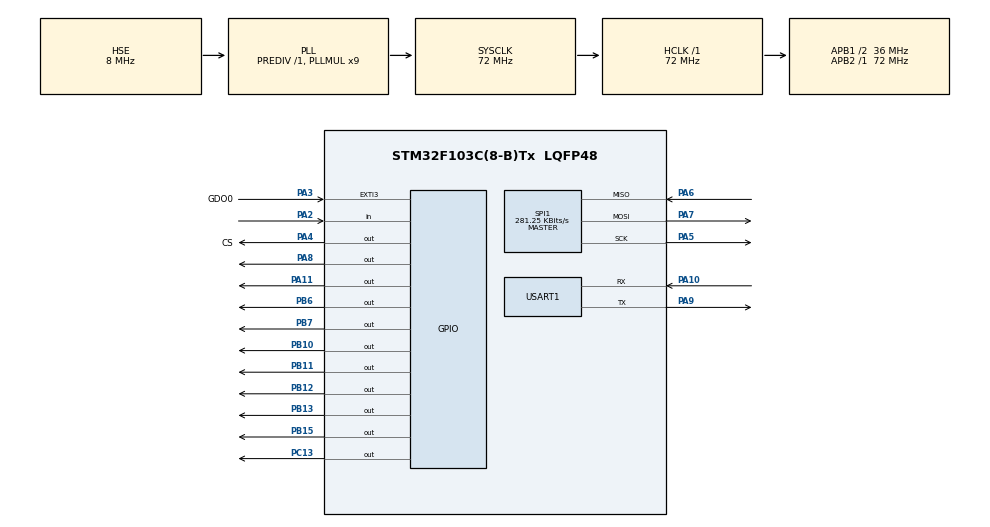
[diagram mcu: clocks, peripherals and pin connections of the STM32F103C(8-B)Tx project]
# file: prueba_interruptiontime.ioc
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Mcu.Family=STM32F1
Mcu.Name=STM32F103C(8-B)Tx
Mcu.Package=LQFP48
NVIC.EXTI3_IRQn=true\:0\:0\:false\:false\:true\:true\:true
NVIC.PriorityGroup=NVIC_PRIORITYGROUP_4
NVIC.TIM4_IRQn=true\:2\:0\:true\:false\:true\:true\:true
PA10.Mode=Asynchronous
PA10.Signal=USART1_RX
PA11.Signal=GPIO_Output
PA13.Mode=Serial_Wire
PA13.Signal=SYS_JTMS-SWDIO
PA14.Mode=Serial_Wire
PA14.Signal=SYS_JTCK-SWCLK
PA2.Signal=GPIO_Input
PA3.GPIO_Label=GDO0
PA3.GPIO_ModeDefaultEXTI=GPIO_MODE_IT_FALLING
PA3.Signal=GPXTI3
PA4.GPIO_Label=CS
PA4.Signal=GPIO_Output
PA5.Mode=Full_Duplex_Master
PA5.Signal=SPI1_SCK
PA6.Mode=Full_Duplex_Master
PA6.Signal=SPI1_MISO
PA7.Mode=Full_Duplex_Master
PA7.Signal=SPI1_MOSI
PA8.GPIO_PuPd=GPIO_PULLUP
PA8.PinState=GPIO_PIN_SET
PA8.Signal=GPIO_Output
PA9.Mode=Asynchronous
PA9.Signal=USART1_TX
PB10.Signal=GPIO_Output
PB11.Signal=GPIO_Output
PB12.Signal=GPIO_Output
PB13.Signal=GPIO_Output
PB15.Signal=GPIO_Output
PB6.Signal=GPIO_Output
PB7.PinState=GPIO_PIN_SET
PB7.Signal=GPIO_Output
PC13-TAMPER-RTC.Signal=GPIO_Output
PD0-OSC_IN.Mode=HSE-External-Oscillator
PD0-OSC_IN.Signal=RCC_OSC_IN
PD1-OSC_OUT.Mode=HSE-External-Oscillator
PD1-OSC_OUT.Signal=RCC_OSC_OUT
ProjectManager.HeapSize=0x200
ProjectManager.StackSize=0x400
ProjectManager.TargetToolchain=STM32CubeIDE
RCC.AHBFreq_Value=72000000
RCC.APB1CLKDivider=RCC_HCLK_DIV2
RCC.APB1Freq_Value=36000000
RCC.APB1TimFreq_Value=72000000
RCC.APB2Freq_Value=72000000
RCC.APB2TimFreq_Value=72000000
RCC.HCLKFreq_Value=72000000
RCC.PLLMUL=RCC_PLL_MUL9
RCC.PLLSourceVirtual=RCC_PLLSOURCE_HSE
RCC.SYSCLKFreq_VALUE=72000000
RCC.SYSCLKSource=RCC_SYSCLKSOURCE_PLLCLK
RCC.USBFreq_Value=48000000
RCC.USBPrescaler=RCC_USBCLKSOURCE_PLL_DIV1_5
SPI1.BaudRatePrescaler=SPI_BAUDRATEPRESCALER_256
SPI1.CRCCalculation=SPI_CRCCALCULATION_DISABLE
SPI1.CalculateBaudRate=281.25 KBits/s
SPI1.Direction=SPI_DIRECTION_2LINES
SPI1.Mode=SPI_MODE_MASTER
SPI1.VirtualType=VM_MASTER
TIM4.AutoReloadPreload=TIM_AUTORELOAD_PRELOAD_DISABLE
TIM4.Period=1
TIM4.Prescaler=1439
USART1.Parity=PARITY_EVEN
USART1.VirtualMode=VM_ASYNC
VP_TIM4_VS_ClockSourceINT.Mode=Internal
board=custom

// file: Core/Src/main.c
/* USER CODE BEGIN Header */
/**
  ******************************************************************************
  * @file           : main.c
  * @brief          : Cuerpo de programa para detección de inhibiciones
  ******************************************************************************
  * @attention
  *
  * <h2><center>&copy; Copyright (c) 2020 STMicroelectronics.
  * All rights reserved.</center></h2>
  *
  * This software component is licensed by ST under BSD 3-Clause license,
  * the "License"; You may not use this file except in compliance with the
  * License. You may obtain a copy of the License at:
  *                        opensource.org/licenses/BSD-3-Clause
  *
  ******************************************************************************
  */
/* USER CODE END Header */
#include "main.h"

/* USER CODE BEGIN Includes */
#include "rf_driver.h"
#include <stdbool.h>

/* USER CODE END Includes */

/* USER CODE BEGIN PTD */

#define ID_nodo  'B'

/* USER CODE END PTD */

SPI_HandleTypeDef hspi1;

TIM_HandleTypeDef htim4;

UART_HandleTypeDef huart1;

/* USER CODE BEGIN PV */

uint16_t promedio = 0, a_promediar = 0, contador20ms = 0, contador150ms = 0, contador20ms_rssi = 0;
uint16_t sync_mx = 1; 			//variable de control para sincronización máxima de 320ms
uint8_t state = 0, i_rssi=0;
uint16_t suma_RSSI = 90;
uint8_t RSSI_val[10] = {90,90,90,90,90,90,90,90,90,90};

//Different state of ATM machine
typedef enum
{
    RxJammer_State,
    Info_central_Tx_State,
	Guarda_RSSI_Rx_State,
    Espera_Rx_State,
    Envia_Tx_State,
    Reset_Rx_State
} eSystemState;

uint8_t bInhibicion;

/* USER CODE END PV */

void SystemClock_Config(void);
static void MX_GPIO_Init(void);
static void MX_SPI1_Init(void);
static void MX_TIM4_Init(void);
static void MX_USART1_UART_Init(void);

int main(void)
{

  /* MCU Configuration--------------------------------------------------------*/

  /* Reset of all peripherals, Initializes the Flash interface and the Systick. */
  HAL_Init();

  /* Configure the system clock */
  SystemClock_Config();

  /* Initialize all configured peripherals */
  MX_GPIO_Init();
  MX_SPI1_Init();
  MX_TIM4_Init();
  MX_USART1_UART_Init();
  /* USER CODE BEGIN 2 */

  	eSystemState NextState;
  	uint8_t gRSSI_value;

  	char ch[3];
  	char in[3]={0, 0, 0};
  	uint8_t gInhibicion;
  	uint16_t err;
  	uint8_t cError = 0;

  	bInhibicion = 0;
  	NextState = RxJammer_State;

	HAL_GPIO_WritePin(GPIOA, GPIO_PIN_8, 0); // DE - Comunicacion RS485 - Se coloca en bajo para estar en modo recepcion
	HAL_GPIO_WritePin(GPIOA, GPIO_PIN_11, 0); // RE - Comunicacion RS485 - Se coloca en bajo para escuchar todo el tiempo

	uint16_t marcstate=0;

	//Init rf driver
	rf_begin(&hspi1, AKS_115_kb, MHz434, CS_GPIO_Port, CS_Pin, GDO0_Pin);
	rf_write_strobe(SRX);

	while(marcstate != RX){
		marcstate = (rf_read_register(MARCSTATE)); //read out state of cc1100 to be sure in RX
	}

	HAL_TIM_Base_Start_IT(&htim4);

	//  test_cargar_cfg();

  /* USER CODE END 2 */

  /* Infinite loop */
  /* USER CODE BEGIN WHILE */
	while (1)
	{
		/*if(HAL_GPIO_ReadPin(GPIOB, GPIO_PIN_6) == 1){
			HAL_TIM_Base_Start_IT(&htim4);
		  }*/

		// Maquina de estados para comunicacion
		switch(NextState){
		  case RxJammer_State:
			  // Codigo que corre el estado
			  in[0] = in[1] = in[2] = 0;
			  HAL_UART_Receive(&huart1, (uint8_t *)in, 1, 1000);
			  if((in[0] != 0) && (in[0] != 'F'))
				  NextState = Espera_Rx_State;
			  else if(bInhibicion != 0)
				  NextState = Info_central_Tx_State;
			  else
				  NextState = RxJammer_State;
			  break;
		  case Info_central_Tx_State:
			  ch[0] = 'I'; //Palabra a transmitir cuando detecta inhibicion
			  HAL_TIM_Base_Stop_IT(&htim4);

			  HAL_GPIO_WritePin(GPIOA, GPIO_PIN_8, 1);
			  HAL_UART_Transmit(&huart1, (uint8_t *)&ch, 1, 10); //Definir palabra a enviar
			  HAL_UART_Receive(&huart1, (uint8_t *)in, 1, 1);
			  HAL_GPIO_WritePin(GPIOA, GPIO_PIN_8, 0);
			  NextState = Espera_Rx_State;

			  break;
		  case Guarda_RSSI_Rx_State:

			  gRSSI_value = RSSI_level();
			  gInhibicion = bInhibicion;
			  NextState = Espera_Rx_State;

			  break;
		  case Espera_Rx_State:
			  HAL_TIM_Base_Stop_IT(&htim4);
			  HAL_GPIO_WritePin(GPIOA, GPIO_PIN_8, 0);
			  err = HAL_UART_Receive(&huart1, (uint8_t *)in, 1, 40);

			  if(in[0] == 'G')
				  NextState = Guarda_RSSI_Rx_State;
			  else if(in[0] == (ID_nodo + 32))
				  NextState = Envia_Tx_State;
			  else if(in[0] == 'F') //En el char 1 se pone F de fin
				  NextState = Reset_Rx_State;
			  else
				  NextState = Espera_Rx_State;

			  if(err ==  3) {
				  cError++;

				  if (cError >= 10){
					  NextState = Reset_Rx_State;
					  cError = 0;
				  }
			  }

			  break;
		  case Envia_Tx_State:
			  ch[0] = ID_nodo;
			  ch[1] = gRSSI_value;
			  ch[2] = gInhibicion;

			  HAL_GPIO_WritePin(GPIOA, GPIO_PIN_8, 1);
			  HAL_UART_Transmit(&huart1, (uint8_t *)&ch, 3, 10); //Definir palabra a enviar, deberia enviar ID RSSI MODINHIBICION
			  HAL_GPIO_WritePin(GPIOA, GPIO_PIN_8, 0);

			  NextState = Espera_Rx_State;

			  break;
		  case Reset_Rx_State:
			  HAL_TIM_Base_Start_IT(&htim4);
			  bInhibicion = 0;
			  NextState = RxJammer_State;
			  in[0] = in[1] = in[2] = 0;
			  break;
		  default:
			  HAL_TIM_Base_Start_IT(&htim4);
			  bInhibicion = 0;
			  NextState = RxJammer_State;
			  //Resetear sistema ?
			  break;

		};

    /* USER CODE END WHILE */

	}
}

void SystemClock_Config(void)
{
  RCC_OscInitTypeDef RCC_OscInitStruct = {0};
  RCC_ClkInitTypeDef RCC_ClkInitStruct = {0};

  /** Initializes the RCC Oscillators according to the specified parameters
  * in the RCC_OscInitTypeDef structure.
  */
  RCC_OscInitStruct.OscillatorType = RCC_OSCILLATORTYPE_HSE;
  RCC_OscInitStruct.HSEState = RCC_HSE_ON;
  RCC_OscInitStruct.HSEPredivValue = RCC_HSE_PREDIV_DIV1;
  RCC_OscInitStruct.HSIState = RCC_HSI_ON;
  RCC_OscInitStruct.PLL.PLLState = RCC_PLL_ON;
  RCC_OscInitStruct.PLL.PLLSource = RCC_PLLSOURCE_HSE;
  RCC_OscInitStruct.PLL.PLLMUL = RCC_PLL_MUL9;
  if (HAL_RCC_OscConfig(&RCC_OscInitStruct) != HAL_OK)
  {
    Error_Handler();
  }
  /** Initializes the CPU, AHB and APB buses clocks
  */
  RCC_ClkInitStruct.ClockType = RCC_CLOCKTYPE_HCLK|RCC_CLOCKTYPE_SYSCLK
                              |RCC_CLOCKTYPE_PCLK1|RCC_CLOCKTYPE_PCLK2;
  RCC_ClkInitStruct.SYSCLKSource = RCC_SYSCLKSOURCE_PLLCLK;
  RCC_ClkInitStruct.AHBCLKDivider = RCC_SYSCLK_DIV1;
  RCC_ClkInitStruct.APB1CLKDivider = RCC_HCLK_DIV2;
  RCC_ClkInitStruct.APB2CLKDivider = RCC_HCLK_DIV1;

  if (HAL_RCC_ClockConfig(&RCC_ClkInitStruct, FLASH_LATENCY_2) != HAL_OK)
  {
    Error_Handler();
  }
}

static void MX_SPI1_Init(void)
{

  /* SPI1 parameter configuration*/
  hspi1.Instance = SPI1;
  hspi1.Init.Mode = SPI_MODE_MASTER;
  hspi1.Init.Direction = SPI_DIRECTION_2LINES;
  hspi1.Init.DataSize = SPI_DATASIZE_8BIT;
  hspi1.Init.CLKPolarity = SPI_POLARITY_LOW;
  hspi1.Init.CLKPhase = SPI_PHASE_1EDGE;
  hspi1.Init.NSS = SPI_NSS_SOFT;
  hspi1.Init.BaudRatePrescaler = SPI_BAUDRATEPRESCALER_256;
  hspi1.Init.FirstBit = SPI_FIRSTBIT_MSB;
  hspi1.Init.TIMode = SPI_TIMODE_DISABLE;
  hspi1.Init.CRCCalculation = SPI_CRCCALCULATION_DISABLE;
  hspi1.Init.CRCPolynomial = 10;
  if (HAL_SPI_Init(&hspi1) != HAL_OK)
  {
    Error_Handler();
  }

}

static void MX_TIM4_Init(void)
{

  TIM_ClockConfigTypeDef sClockSourceConfig = {0};
  TIM_MasterConfigTypeDef sMasterConfig = {0};

  htim4.Instance = TIM4;
  htim4.Init.Prescaler = 1439;
  htim4.Init.CounterMode = TIM_COUNTERMODE_UP;
  htim4.Init.Period = 1;
  htim4.Init.ClockDivision = TIM_CLOCKDIVISION_DIV1;
  htim4.Init.AutoReloadPreload = TIM_AUTORELOAD_PRELOAD_DISABLE;
  if (HAL_TIM_Base_Init(&htim4) != HAL_OK)
  {
    Error_Handler();
  }
  sClockSourceConfig.ClockSource = TIM_CLOCKSOURCE_INTERNAL;
  if (HAL_TIM_ConfigClockSource(&htim4, &sClockSourceConfig) != HAL_OK)
  {
    Error_Handler();
  }
  sMasterConfig.MasterOutputTrigger = TIM_TRGO_RESET;
  sMasterConfig.MasterSlaveMode = TIM_MASTERSLAVEMODE_DISABLE;
  if (HAL_TIMEx_MasterConfigSynchronization(&htim4, &sMasterConfig) != HAL_OK)
  {
    Error_Handler();
  }

}

static void MX_USART1_UART_Init(void)
{

  huart1.Instance = USART1;
  huart1.Init.BaudRate = 115200;
  huart1.Init.WordLength = UART_WORDLENGTH_8B;
  huart1.Init.StopBits = UART_STOPBITS_1;
  huart1.Init.Parity = UART_PARITY_EVEN;
  huart1.Init.Mode = UART_MODE_TX_RX;
  huart1.Init.HwFlowCtl = UART_HWCONTROL_NONE;
  huart1.Init.OverSampling = UART_OVERSAMPLING_16;
  if (HAL_UART_Init(&huart1) != HAL_OK)
  {
    Error_Handler();
  }

}

static void MX_GPIO_Init(void)
{
  GPIO_InitTypeDef GPIO_InitStruct = {0};

  /* GPIO Ports Clock Enable */
  __HAL_RCC_GPIOC_CLK_ENABLE();
  __HAL_RCC_GPIOD_CLK_ENABLE();
  __HAL_RCC_GPIOA_CLK_ENABLE();
  __HAL_RCC_GPIOB_CLK_ENABLE();

  /*Configure GPIO pin Output Level */
  HAL_GPIO_WritePin(GPIOC, GPIO_PIN_13, GPIO_PIN_RESET);

  /*Configure GPIO pin Output Level */
  HAL_GPIO_WritePin(GPIOA, CS_Pin|GPIO_PIN_11, GPIO_PIN_RESET);

  /*Configure GPIO pin Output Level */
  HAL_GPIO_WritePin(GPIOB, GPIO_PIN_10|GPIO_PIN_11|GPIO_PIN_12|GPIO_PIN_13
                          |GPIO_PIN_15|GPIO_PIN_6, GPIO_PIN_RESET);

  /*Configure GPIO pin Output Level */
  HAL_GPIO_WritePin(GPIOA, GPIO_PIN_8, GPIO_PIN_SET);

  /*Configure GPIO pin Output Level */
  HAL_GPIO_WritePin(GPIOB, GPIO_PIN_7, GPIO_PIN_SET);

  /*Configure GPIO pin : PC13 */
  GPIO_InitStruct.Pin = GPIO_PIN_13;
  GPIO_InitStruct.Mode = GPIO_MODE_OUTPUT_PP;
  GPIO_InitStruct.Pull = GPIO_NOPULL;
  GPIO_InitStruct.Speed = GPIO_SPEED_FREQ_LOW;
  HAL_GPIO_Init(GPIOC, &GPIO_InitStruct);

  /*Configure GPIO pin : PA2 */
  GPIO_InitStruct.Pin = GPIO_PIN_2;
  GPIO_InitStruct.Mode = GPIO_MODE_INPUT;
  GPIO_InitStruct.Pull = GPIO_NOPULL;
  HAL_GPIO_Init(GPIOA, &GPIO_InitStruct);

  /*Configure GPIO pin : GDO0_Pin */
  GPIO_InitStruct.Pin = GDO0_Pin;
  GPIO_InitStruct.Mode = GPIO_MODE_IT_FALLING;
  GPIO_InitStruct.Pull = GPIO_NOPULL;
  HAL_GPIO_Init(GDO0_GPIO_Port, &GPIO_InitStruct);

  /*Configure GPIO pins : CS_Pin PA11 */
  GPIO_InitStruct.Pin = CS_Pin|GPIO_PIN_11;
  GPIO_InitStruct.Mode = GPIO_MODE_OUTPUT_PP;
  GPIO_InitStruct.Pull = GPIO_NOPULL;
  GPIO_InitStruct.Speed = GPIO_SPEED_FREQ_LOW;
  HAL_GPIO_Init(GPIOA, &GPIO_InitStruct);

  /*Configure GPIO pins : PB10 PB11 PB12 PB13
                           PB15 PB6 PB7 */
  GPIO_InitStruct.Pin = GPIO_PIN_10|GPIO_PIN_11|GPIO_PIN_12|GPIO_PIN_13
                          |GPIO_PIN_15|GPIO_PIN_6|GPIO_PIN_7;
  GPIO_InitStruct.Mode = GPIO_MODE_OUTPUT_PP;
  GPIO_InitStruct.Pull = GPIO_NOPULL;
  GPIO_InitStruct.Speed = GPIO_SPEED_FREQ_LOW;
  HAL_GPIO_Init(GPIOB, &GPIO_InitStruct);

  /*Configure GPIO pin : PA8 */
  GPIO_InitStruct.Pin = GPIO_PIN_8;
  GPIO_InitStruct.Mode = GPIO_MODE_OUTPUT_PP;
  GPIO_InitStruct.Pull = GPIO_PULLUP;
  GPIO_InitStruct.Speed = GPIO_SPEED_FREQ_LOW;
  HAL_GPIO_Init(GPIOA, &GPIO_InitStruct);

  /* EXTI interrupt init*/
  HAL_NVIC_SetPriority(EXTI3_IRQn, 0, 0);
  HAL_NVIC_EnableIRQ(EXTI3_IRQn);

}

/* USER CODE BEGIN 4 */

void HAL_TIM_PeriodElapsedCallback(TIM_HandleTypeDef *htim){

	uint8_t data_in;

	if(htim->Instance == TIM4){ //chequea que la interrupción sea la del timer adecuado

		data_in = HAL_GPIO_ReadPin(GPIOA, GPIO_PIN_2); //leo el valor de dato de entrada

		switch(state)
		{
			case 0:
				a_promediar += data_in;
				contador20ms++;
				if(contador20ms == 499){ 							// 500 cuentas equivalen a 20ms por la frecuencia de 25kHz de la interrupcion
					promedio = (int) ((a_promediar * 100) / 500); 	//calculo el promedio de 1 en 20 ms

					if(promedio > threshold) sync_mx = sync_mx << 1; //sync_mx es una variable de 16 bits que me permite testear cuantos bloques consecutivos de 20ms hubo un porcentaje de 1 que supere el threshold
					else sync_mx = 1;

 					if(sync_mx == 0)  {
						state = 1; //si surgen 16 bloques consecutivos sospechamos inhibición y hacemos análisis en 150ms
						sync_mx = 1;
					}
					contador20ms = 0;
					a_promediar = 0;
					bInhibicion = 0;
					promedio = 0;
				}
				break;

			case 1:
				a_promediar += data_in;
				contador150ms++;
				if(contador150ms == 3749) {
					promedio = (int) ((a_promediar * 100) / 3750); 	//calculo el promedio de unos en 150 ms
					if(promedio > threshold){
						bInhibicion = 1;
						HAL_TIM_Base_Stop_IT(&htim4);}
					contador150ms = 0; // 3750 cuentas equivalen a 150ms por la frecuencia de 25kHz de la interrupcion
					state = 0;
					a_promediar = 0;
					promedio = 0;
				}

				break;
		}

		contador20ms_rssi++;
		if(contador20ms_rssi == 499){ 							// 500 cuentas equivalen a 20ms por la frecuencia de 25kHz de la interrupcion

			if(i_rssi < 10){
				RSSI_val[i_rssi] = RSSI_level(); 					//Llamo a función que devuelve el valor del rssi
				if (RSSI_val[i_rssi] > 120 || RSSI_val[i_rssi] < 18) RSSI_val[i_rssi] = suma_RSSI;
				i_rssi++;
			}
			else i_rssi = 0;

			for(int i = 0; i<10; i++){
				suma_RSSI += RSSI_val[i];
			}

			suma_RSSI = (uint16_t)(suma_RSSI/10);

			if(suma_RSSI <= 30) {
				bInhibicion = 2;
				HAL_TIM_Base_Stop_IT(&htim4);  // Si RSSI promedio es <= 30 es inhibicion por potencia
			}
			contador20ms_rssi = 0;

		}
	}

}

uint8_t RSSI_level(){ //esta funcion devuelve el valor en dBm del RSSI
	int result_RSSI, result;

	result = rf_read_register(RSSI); 			//leo el registro que almacena el RSSI
	if(result < 128){  							//Transformo a dBm segun su valor
		result_RSSI = (int)(result/2)-74;
	}
	else{
		result_RSSI = (int)((result -256)/2)-74;
	}

	return (uint8_t)((-1)*result_RSSI);
}

/* USER CODE END 4 */

void Error_Handler(void)
{
}

/************************ (C) COPYRIGHT STMicroelectronics *****END OF FILE****/
